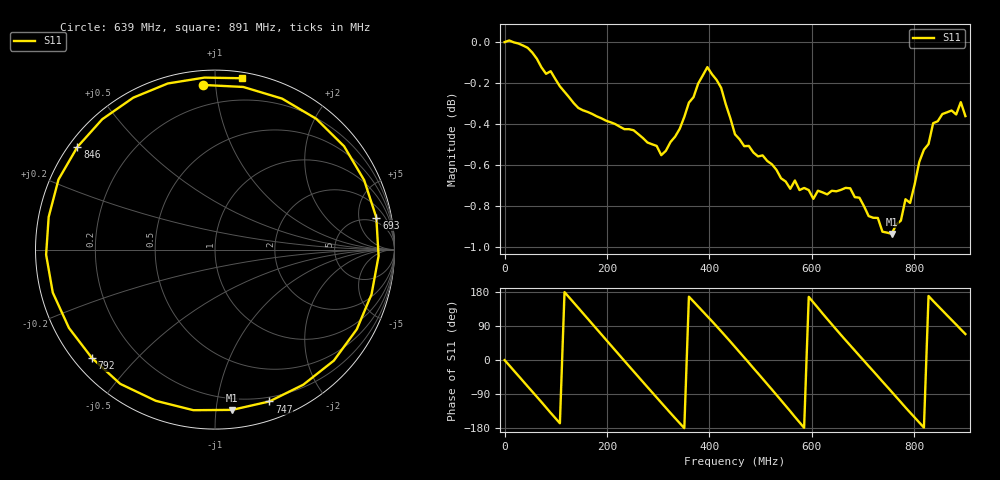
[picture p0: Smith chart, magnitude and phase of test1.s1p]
# HZ S RI R 50
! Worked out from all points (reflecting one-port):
!   101 points, 50 kHz to 900 MHz, reference 50 ohm
!   lowest |S11| = -0.9 dB at 756 MHz (marker M1), VSWR 18.62, Z = 5.98 - j55.2 ohm
!   phase of S11 starts at -0 deg and turns -1371 deg over the sweep
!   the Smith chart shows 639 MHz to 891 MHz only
!   S11 on the Smith chart (normalised r, x): 639 MHz: 0.08, +0.93; 693 MHz: 3.80, +8.47; 747 MHz: 0.16, -1.41; 792 MHz: 0.05, -0.38; 846 MHz: 0.02, +0.33; 891 MHz: 0.04, +1.17
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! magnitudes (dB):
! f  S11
! 50 kHz  0.0
! 45.05 MHz  0.0
! 117 MHz  -0.2
! 144 MHz  -0.3
! 225 MHz  -0.4
! 306 MHz  -0.6
! 342 MHz  -0.4
! 396 MHz  -0.1
! 423 MHz  -0.2
! 450 MHz  -0.5
! 558 MHz  -0.7
! 567 MHz  -0.7
! 603 MHz  -0.8
! 639 MHz  -0.7
! 675 MHz  -0.7
! 693 MHz  -0.8
! 747 MHz  -0.9
! 756 MHz  -0.9
! 774 MHz  -0.9
! 783 MHz  -0.8
! 792 MHz  -0.8
! 810 MHz  -0.6
! 828 MHz  -0.5
! 837 MHz  -0.4
! 846 MHz  -0.4
! 882 MHz  -0.4
! 891 MHz  -0.3
! 900 MHz  -0.4
